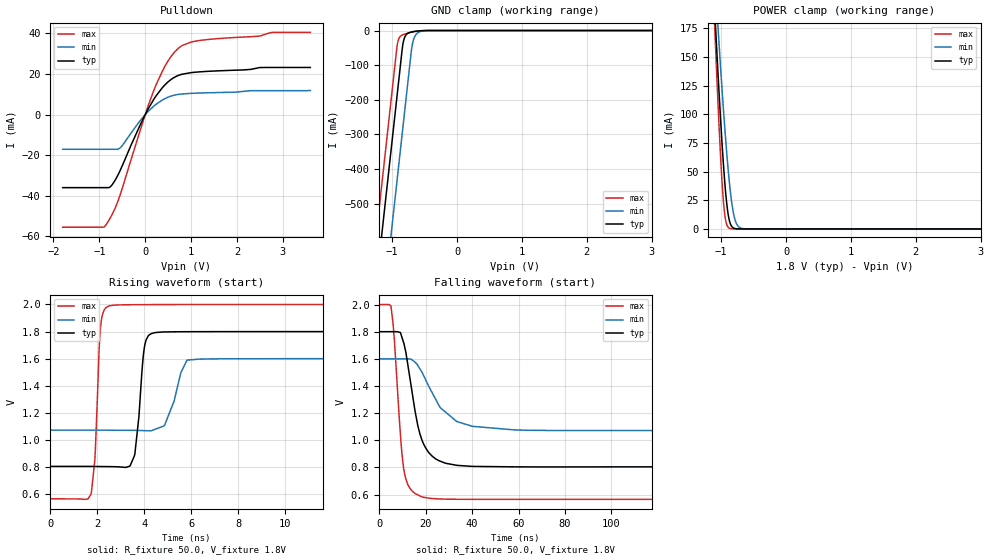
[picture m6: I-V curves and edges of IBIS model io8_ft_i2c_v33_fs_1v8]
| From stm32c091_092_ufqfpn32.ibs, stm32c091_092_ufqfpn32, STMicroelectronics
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[Model]   io8_ft_i2c_v33_fs_1v8
Model_type I/O_open_drain
Polarity   Non-Inverting
Enable   Active-Low
| CAP_THRESHOLD on pad IOFT is "UDTCAPC" :
| Rising=30.0% of vddiom   Falling=70.0% of vddiom
| C_comp min and max val. don't necessarily correlate with the min and max pvt
| but are the smallest and greatest pad capacitance found.
| var   typ   min   max
C_comp   2.20140pF  2.17990pF  2.25295pF
|C_comp_pulldown   2.20140pF  2.17990pF  2.25295pF
Vinl = 800.0mV
Vinh = 1.0V
Vmeas = 900.0mV   | Reference voltage for timing measurements
Cref  = 50.0pF   | Timing specification test load capacitance value
Rref  = 1.0MOhm   | Timing specification test load resistance value
Vref  = 990.0mV   | Timing specification test load voltage
[Model Spec]
| TIME_THRESHOLD on pin ZII2CV12 is "CMOS" :
| Rising=50.0% of vdd   Falling=50.0% of vdd
Vinl 728.70000mV 652.70000mV 817.70000mV
Vinh 1.06430V 953.30000mV 1.16330V
| variable   typ   min   max
[Temperature Range] 25.0 125.0 -40.0
| variable   typ   min   max
[Voltage Range] 1.8V 1.6V 2.0V
| variable   typ   min   max
[POWER Clamp Reference] 1.8V 1.6V 2.0V
| variable   typ   min   max
[GND Clamp Reference] 0V 0V 0V
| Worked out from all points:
|   slope of the pulldown table from 0 to 0.27 V, typ, clamps not added: 26.4 ohm
|   GND clamp passes 1 mA (typ) near -0.58 V on its own axis
|   POWER clamp passes 1 mA (typ) near -0.81 V on its own axis
|   rising waveform, R_fixture 50.0, V_fixture 1.8V: 20-80 % time 281ps typ, 534ps min, 195ps max; typ from 0.804 V to 1.8 V
|   falling waveform, R_fixture 50.0, V_fixture 1.8V: 20-80 % time 6.45ns typ, 12ns min, 3.47ns max; typ from 1.8 V to 0.805 V
[POWER Clamp]
-1.8V     1.053A     933.5mA    1.262A
-1.1V     191.1mA    222.7mA    177.1mA
-1.08V    169mA      204.2mA    149.9mA
-1.05V    136.9mA    176.9mA    110.9mA
-1.01V    96.55mA    141.6mA    64.02mA
-980mV    68.91mA    116.4mA    35.23mA
-940mV    37.57mA    84.83mA    10.65mA
-880mV    8.969mA    44.34mA    807.4uA
-830mV    1.697mA    20.19mA    75.79uA
-790mV    394.2uA    8.787mA    11.25uA
-670mV    4.467uA    374.2uA    36.56nA
3.6V      0A         0A         0A
[GND Clamp]
-1.8V     -1.676A    -1.92A     -1.532A
-1.24V    -723.6mA   -967.7mA   -579.5mA
-1.05V    -400.6mA   -644.7mA   -256.5mA
-920mV    -179.6mA   -423.7mA   -38.92mA
-890mV    -128.6mA   -372.7mA   -20.43mA
-850mV    -60.6mA    -304.7mA   -13.42mA
-830mV    -34.09mA   -270.7mA   -11.74mA
-800mV    -16.49mA   -219.7mA   -9.781mA
-690mV    -3.754mA   -41.06mA   -4.242mA
-640mV    -2.187mA   -13.34mA   -2.404mA
-570mV    -808.6uA   -3.187mA   -757.3uA
3.6V      509.6pA    49.06nA    363.2pA
| variable   typ   min   max
[Pullup Reference] 1.8V 1.6V 2.0V
| variable   typ   min   max
[Pulldown Reference] 0V 0V 0V
[Pulldown]
-1.8V     -35.95mA   -17.07mA   -55.42mA
-910mV    -35.95mA   -17.07mA   -55.42mA
-830mV    -35.95mA   -17.07mA   -53.42mA
-720mV    -34.49mA   -17.07mA   -49.08mA
-540mV    -27.18mA   -16.22mA   -39.07mA
-120mV    -5.598mA   -3.255mA   -8.496mA
240mV     9.353mA    5.171mA    14.85mA
490mV     15.96mA    8.523mA    26.14mA
750mV     19.54mA    10.04mA    33.17mA
1.37V     21.33mA    10.77mA    37.03mA
2.78V     23.24mA    11.8mA     40.53mA
3.6V      23.24mA    11.89mA    40.54mA
[Ramp]
dV/dt_r 597.43064mV/280.97281ps 316.61142mV/530.92737ps 860.7678mV/194.42346ps
dV/dt_f 597.23536mV/6.454ns 316.37161mV/11.97861ns 860.78248mV/3.46862ns
R_load = 50.0
| Removed startup time: 0s 0s 0s  .
| Removed end time: 29.875ns.
[Rising Waveform]
R_fixture   = 50.0
V_fixture   = 1.8V
V_fixture_min = 1.6V
V_fixture_max = 2.0V
0s        804.2mV    1.072V     565.4mV
1.725ns   804.2mV    1.072V     595.5mV
1.9ns     804mV      1.072V     854.7mV
2.15ns    803.4mV    1.072V     1.848V
2.525ns   802.7mV    1.072V     1.99V
3.575ns   879.5mV    1.07V      1.998V
4.025ns   1.701V     1.068V     1.999V
4.475ns   1.793V     1.079V     1.999V
5.825ns   1.799V     1.59V      2V
29.88ns   1.8V       1.6V       2V
| Removed startup time: 0s 0s 0s  .
| Removed end time: 299.875ns.
[Falling Waveform]
R_fixture   = 50.0
V_fixture   = 1.8V
V_fixture_min = 1.6V
V_fixture_max = 2.0V
0s        1.8V       1.6V       2V
5.075ns   1.8V       1.6V       1.986V
6.5ns     1.8V       1.6V       1.744V
9.725ns   1.762V     1.6V       912.5mV
11.07ns   1.679V     1.6V       742.2mV
15.4ns    1.218V     1.576V     608.1mV
18.2ns    1.012V     1.508V     584.8mV
26.2ns    846.7mV    1.242V     568mV
40.08ns   807.9mV    1.103V     565.5mV
299.9ns   804.6mV    1.073V     565.4mV
